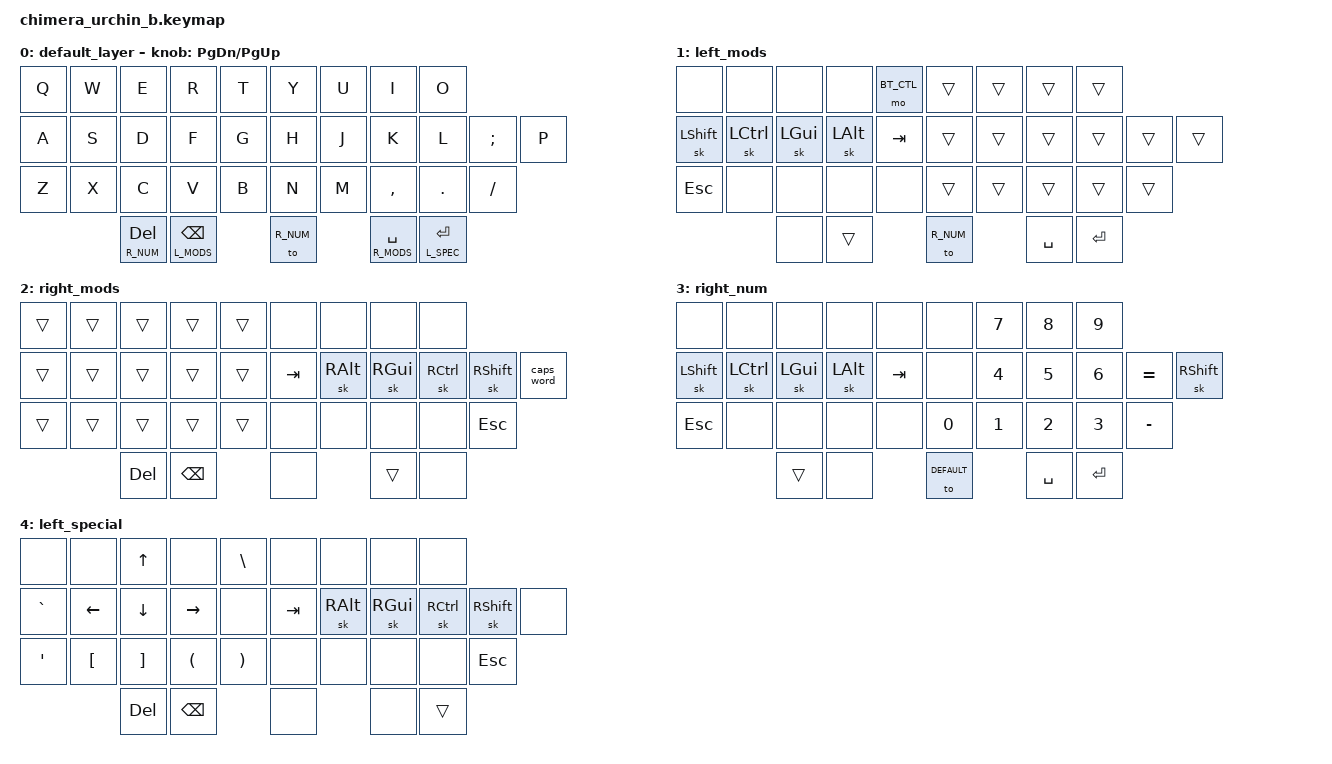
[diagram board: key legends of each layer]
// Copyright (c) 2024 Patrick Dent
// SPDX-License-Identifier: MIT

#include <behaviors.dtsi>
#include <dt-bindings/zmk/keys.h>
#include <dt-bindings/zmk/bt.h>

#define DEFAULT 0
#define L_MODS 1
#define R_MODS 2
#define R_NUM 3
#define L_SPEC 4
#define BT_CTL 5

/ {
    behaviors {
        ht: hold_tap {
            label = "hold_tap";
            compatible = "zmk,behavior-hold-tap";
            #binding-cells = <2>;
            flavor = "tap-preferred";
            tapping-term-ms = <150>;
            quick-tap-ms = <100>;
            global-quick-tap;
            bindings = <&kp>, <&kp>;
        };
    };

    keymap {
        compatible = "zmk,keymap";
        default_layer { // 0
            bindings = <
        // ╭──────────┬──────────┬──────────┬──────────┬──────────╮   ╭──────────┬──────────┬──────────┬──────────╮
        // |  Q       │  W       │  E       │  R       │  T       │   │  Y       │  U       │  I       │  O       │
            &kp Q      &kp W      &kp E      &kp R      &kp T          &kp Y      &kp U      &kp I      &kp O
        // ╭──────────┼──────────┼──────────┼──────────┼──────────┤   ├─────────────────────┼──────────┼──────────┼──────────┬──────────╮
        // │  A       │  S       │  D       │  F       │  G       │   │  H       │  J       │  K       │  L       │ ' "      │  P       │
            &kp A      &kp S      &kp D      &kp F      &kp G          &kp H      &kp J      &kp K      &kp L      &kp SEMI    &kp P
        // ╰──────────┼──────────┼──────────┼──────────┼──────────┤   ├──────────┼──────────┼──────────┼──────────┼──────────┼──────────╯
        // │  Z       │  X       │  C       │  V       │  B       │   │  N       │  M       │ , <      │ . >      │ / ?      │
            &kp Z      &kp X      &kp C      &kp V      &kp B          &kp N      &kp M      &kp COMMA  &kp DOT    &kp FSLH
        // ╰──────────┴─────────┬┴──────────┴────┬─────┴──────────┤   ├──────────┴─────┬────┴──────────┴┬─────────┴──────┬───╯
                                 &lt R_NUM DEL    &lt L_MODS BSPC      &to R_NUM        &lt R_MODS SPACE &lt L_SPEC ENTER
        //                      ╰────────────────┴────────────────╯   ╰────────────────┴────────────────┴────────────────╯
            >;
            sensor-bindings = <&inc_dec_kp PG_DN PG_UP>;
        };

        left_mods { // 1
            bindings = <
        // ╭──────────┬──────────┬──────────┬──────────┬──────────╮   ╭──────────┬──────────┬──────────┬──────────╮
        // │ XXXXXX   │  XXXXXX  │  XXXXXX  │  XXXXXX  │ bt lyr   │   │          │          │          │          │
            &none      &none      &none      &none      &mo BT_CTL     &trans     &trans     &trans     &trans
        // ├──────────┼──────────┼──────────┼──────────┼──────────┤   ├─────────────────────┼──────────┼──────────┼──────────┬──────────╮
        // │ Shift    │  Control │  GUI     │  Alt     │ Tab      │   │          │          │          │          │          │          |
            &sk LSHIFT &sk LCTRL  &sk LGUI   &sk LALT   &kp TAB        &trans     &trans     &trans     &trans     &trans    &trans
        // ├──────────┼──────────┼──────────┼──────────┼──────────┤   ├──────────┼──────────┼──────────┼──────────┼──────────┼──────────╯
        // │ Escape   │  XXXXXX  │  XXXXXX  │  XXXXXX  │ XXXXXX   │   │          │          │          │          │          │
            &kp ESC    &none      &none      &none      &none          &trans     &trans     &trans     &trans     &trans
        // ╰──────────┴─────────┬┴──────────┴────┬─────┴──────────┤   ├──────────┴─────┬────┴──────────┴┬─────────┴──────┬───╯
                                 &none            &trans               &to R_NUM        &kp SPACE        &kp ENTER
        //                      ╰────────────────┴────────────────╯   ╰────────────────┴────────────────┴────────────────╯
            >;
        };

        right_mods { // 2
            bindings = <
        // ╭──────────┬──────────┬──────────┬──────────┬──────────╮   ╭──────────┬──────────┬──────────┬──────────╮
        // │          │          │          │          │          │   │ XXXXXX   |  XXXXXX  │  XXXXXX  │ XXXXXX   │
            &trans     &trans     &trans     &trans     &trans         &none       &none      &none     &none
        // ├──────────┼──────────┼──────────┼──────────┼──────────┤   ├─────────────────────┼──────────┼──────────┼──────────┬──────────╮
        // │          │          │          │          │          │   │ Tab      │  Alt     │  GUI     │ Control  │ Shift    │ Caps Word│
            &trans     &trans     &trans     &trans     &trans         &kp TAB    &sk RALT   &sk RGUI   &sk RCTRL  &sk RSHIFT &caps_word
        // ├──────────┼──────────┼──────────┼──────────┼──────────┤   ├──────────┼──────────┼──────────┼──────────┼──────────┼──────────╯
        // │          │          │          │          │          │   │  XXXXXX  │  XXXXXX  │  XXXXXX  │ XXXXXX   │ Escape   │
            &trans     &trans     &trans     &trans     &trans         &none      &none      &none      &none      &kp ESC
        // ╰──────────┴─────────┬┴──────────┴────┬─────┴──────────┤   ├──────────┴─────┬────┴──────────┴┬─────────┴──────┬───╯
                                 &kp DEL          &kp BSPC             &none            &trans           &none
        //                      ╰────────────────┴────────────────╯   ╰────────────────┴────────────────┴────────────────╯
            >;
        };

        right_num { // 3
            bindings = <
        // ╭──────────┬──────────┬──────────┬──────────┬──────────╮   ╭──────────┬──────────┬──────────┬──────────╮
        // │ XXXXXX   │  XXXXXX  │  XXXXXX  │  XXXXXX  │ XXXXXX   │   │ XXXXXX   │ 7        │ 8        │ 9        │
            &none      &none      &none      &none      &none          &none      &kp N7     &kp N8     &kp N9
        // ├──────────┼──────────┼──────────┼──────────┼──────────┤   ├─────────────────────┼──────────┼──────────┼──────────┬──────────╮
        // │ Shift    │  Control │  GUI     │  Alt     │ Tab      │   │ XXXXXX   │ 4        │ 5        │ 6        │ Equals   │ Shift    │
            &sk LSHIFT &sk LCTRL  &sk LGUI   &sk LALT   &kp TAB        &none      &kp N4     &kp N5     &kp N6     &kp EQUAL  &sk RSHIFT
        // ├──────────┼──────────┼──────────┼──────────┼──────────┤   ├──────────┼──────────┼──────────┼──────────┼──────────┼──────────╯
        // │ Escape   │  XXXXXX  │  XXXXXX  │  XXXXXX  │ XXXXXX   │   │ 0        │ 1        │ 2        │ 3        │ Minus    │
            &kp ESC    &none      &none      &none      &none          &kp N0     &kp N1     &kp N2     &kp N3     &kp MINUS
        // ╰──────────┴─────────┬┴──────────┴────┬─────┴──────────┤   ├──────────┴─────┬────┴──────────┴┬─────────┴──────┬───╯
                                 &trans           &none                &to DEFAULT      &kp SPACE        &kp ENTER
        //                      ╰────────────────┴────────────────╯   ╰────────────────┴────────────────┴────────────────╯
            >;
        };

        left_special { // 4
            bindings = <
        // ╭──────────┬──────────┬──────────┬──────────┬──────────╮   ╭──────────┬──────────┬──────────┬──────────╮
        // │ XXXXXX   │ XXXXXX   │  Up      │ XXXXXX   │ Backslsh │   │  XXXXXX  │  XXXXXX  │  XXXXXX  │ XXXXXX   │
            &none      &none      &kp UP     &none      &kp BSLH       &none      &none      &none      &none
        // ├──────────┼──────────┼──────────┼──────────┼──────────┤   ├─────────────────────┼──────────┼──────────┼──────────┬──────────╮
        // │ Grave    │ Left     │ Down     │ Right    │ XXXXXX   │   │  Tab     │  Alt     │  GUI     │ Control  │ Shift    │ XXXXXX   |
            &kp GRAVE  &kp LEFT   &kp DOWN   &kp RIGHT  &none          &kp TAB    &sk RALT   &sk RGUI   &sk RCTRL  &sk RSHIFT &none
        // ├──────────┼──────────┼──────────┼──────────┼──────────┤   ├──────────┼──────────┼──────────┼──────────┼──────────┼──────────╯
        // │ Quote    │ [        │ ]        │  (       │  )       │   │  XXXXXX  │  XXXXXX  │  XXXXXX  │ XXXXXX   │ Escape   │
            &kp SQT    &kp LBKT   &kp RBKT   &kp LPAR   &kp RPAR       &none      &none      &none      &none      &kp ESC
        // ╰──────────┴─────────┬┴──────────┴────┬─────┴──────────┤   ├──────────┴─────┬────┴──────────┴┬─────────┴──────┬───╯
                                 &kp DEL          &kp BSPC             &none            &none            &trans
        //                      ╰────────────────┴────────────────╯   ╰────────────────┴────────────────┴────────────────╯
            >;
        };
    };
};
